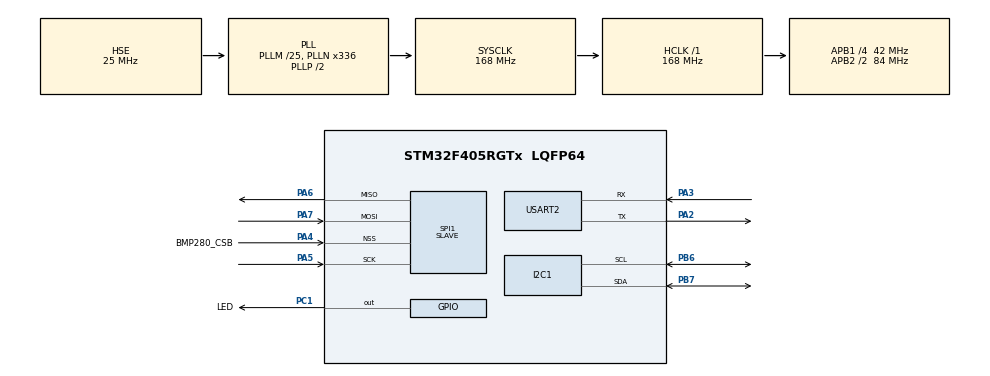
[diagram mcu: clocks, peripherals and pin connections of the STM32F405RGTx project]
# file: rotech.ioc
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Mcu.Family=STM32F4
Mcu.Name=STM32F405RGTx
Mcu.Package=LQFP64
NVIC.PriorityGroup=NVIC_PRIORITYGROUP_4
PA13.Mode=Serial_Wire
PA13.Signal=SYS_JTMS-SWDIO
PA14.Mode=Serial_Wire
PA14.Signal=SYS_JTCK-SWCLK
PA2.Mode=Asynchronous
PA2.Signal=USART2_TX
PA3.Mode=Asynchronous
PA3.Signal=USART2_RX
PA4.GPIO_Label=BMP280_CSB
PA4.Mode=NSS_Signal_Hard_Input
PA4.Signal=SPI1_NSS
PA5.Mode=Full_Duplex_Slave
PA5.Signal=SPI1_SCK
PA6.Mode=Full_Duplex_Slave
PA6.Signal=SPI1_MISO
PA7.Mode=Full_Duplex_Slave
PA7.Signal=SPI1_MOSI
PB6.Mode=I2C
PB6.Signal=I2C1_SCL
PB7.Mode=I2C
PB7.Signal=I2C1_SDA
PC1.GPIO_Label=LED
PC1.Signal=GPIO_Output
PH0-OSC_IN.Mode=HSE-External-Oscillator
PH0-OSC_IN.Signal=RCC_OSC_IN
PH1-OSC_OUT.Mode=HSE-External-Oscillator
PH1-OSC_OUT.Signal=RCC_OSC_OUT
ProjectManager.HeapSize=0x200
ProjectManager.StackSize=0x400
ProjectManager.TargetToolchain=STM32CubeIDE
RCC.48MHZClocksFreq_Value=48000000
RCC.AHBFreq_Value=168000000
RCC.APB1CLKDivider=RCC_HCLK_DIV4
RCC.APB1Freq_Value=42000000
RCC.APB1TimFreq_Value=84000000
RCC.APB2CLKDivider=RCC_HCLK_DIV2
RCC.APB2Freq_Value=84000000
RCC.APB2TimFreq_Value=168000000
RCC.CortexFreq_Value=168000000
RCC.HCLKFreq_Value=168000000
RCC.HSE_VALUE=25000000
RCC.HSI_VALUE=16000000
RCC.LSE_VALUE=32768
RCC.PLLM=25
RCC.PLLN=336
RCC.PLLQ=7
RCC.PLLSourceVirtual=RCC_PLLSOURCE_HSE
RCC.SYSCLKFreq_VALUE=168000000
RCC.SYSCLKSource=RCC_SYSCLKSOURCE_PLLCLK
RCC.VCOOutputFreq_Value=336000000
SPI1.Direction=SPI_DIRECTION_2LINES
SPI1.Mode=SPI_MODE_SLAVE
SPI1.VirtualNSS=VM_NSSHARD
SPI1.VirtualType=VM_SLAVE
USART2.VirtualMode=VM_ASYNC
board=custom

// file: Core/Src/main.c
/* USER CODE BEGIN Header */
/**
  ******************************************************************************
  * @file           : main.c
  * @brief          : Main program body
  ******************************************************************************
  * @attention
  *
  * Copyright (c) 2024 STMicroelectronics.
  * All rights reserved.
  *
  * This software is licensed under terms that can be found in the LICENSE file
  * in the root directory of this software component.
  * If no LICENSE file comes with this software, it is provided AS-IS.
  *
  ******************************************************************************
  */
/* USER CODE END Header */
#include "main.h"

/* USER CODE BEGIN Includes */
#include "../../Drivers/BMP280/bmp280.h"

/* USER CODE END Includes */

I2C_HandleTypeDef hi2c1;

SPI_HandleTypeDef hspi1;

UART_HandleTypeDef huart2;

void SystemClock_Config(void);
static void MX_GPIO_Init(void);
static void MX_USART2_UART_Init(void);
static void MX_SPI1_Init(void);
static void MX_I2C1_Init(void);
/* USER CODE BEGIN PFP */
static void blink(void);
#define PUTCHAR_PROTOTYPE int __io_putchar(int ch)
/* USER CODE END PFP */

int main(void)
{

  /* USER CODE BEGIN 1 */
//	float temp, press, hum;

//	const uint8_t message[] = "hello, world!\n";

  /* USER CODE END 1 */

  /* MCU Configuration--------------------------------------------------------*/

  /* Reset of all peripherals, Initializes the Flash interface and the Systick. */
  HAL_Init();

  /* Configure the system clock */
  SystemClock_Config();

  /* Initialize all configured peripherals */
  MX_GPIO_Init();
  MX_USART2_UART_Init();
  MX_SPI1_Init();
  MX_I2C1_Init();
  /* USER CODE BEGIN 2 */

  HAL_Delay(300);

  BMP280_Init();

  /* USER CODE END 2 */

  /* Infinite loop */
  /* USER CODE BEGIN WHILE */
  while (1)
  {
	  blink();
	  BMP280_ReadData();
	  HAL_Delay(200);

	  printf("pressure: %f    temperature: %f \n", bmp280.comp_data.press, bmp280.comp_data.temp);
    /* USER CODE END WHILE */

  }
}

void SystemClock_Config(void)
{
  RCC_OscInitTypeDef RCC_OscInitStruct = {0};
  RCC_ClkInitTypeDef RCC_ClkInitStruct = {0};

  /** Configure the main internal regulator output voltage
  */
  __HAL_RCC_PWR_CLK_ENABLE();
  __HAL_PWR_VOLTAGESCALING_CONFIG(PWR_REGULATOR_VOLTAGE_SCALE1);

  /** Initializes the RCC Oscillators according to the specified parameters
  * in the RCC_OscInitTypeDef structure.
  */
  RCC_OscInitStruct.OscillatorType = RCC_OSCILLATORTYPE_HSE;
  RCC_OscInitStruct.HSEState = RCC_HSE_ON;
  RCC_OscInitStruct.PLL.PLLState = RCC_PLL_ON;
  RCC_OscInitStruct.PLL.PLLSource = RCC_PLLSOURCE_HSE;
  RCC_OscInitStruct.PLL.PLLM = 25;
  RCC_OscInitStruct.PLL.PLLN = 336;
  RCC_OscInitStruct.PLL.PLLP = RCC_PLLP_DIV2;
  RCC_OscInitStruct.PLL.PLLQ = 7;
  if (HAL_RCC_OscConfig(&RCC_OscInitStruct) != HAL_OK)
  {
    Error_Handler();
  }

  /** Initializes the CPU, AHB and APB buses clocks
  */
  RCC_ClkInitStruct.ClockType = RCC_CLOCKTYPE_HCLK|RCC_CLOCKTYPE_SYSCLK
                              |RCC_CLOCKTYPE_PCLK1|RCC_CLOCKTYPE_PCLK2;
  RCC_ClkInitStruct.SYSCLKSource = RCC_SYSCLKSOURCE_PLLCLK;
  RCC_ClkInitStruct.AHBCLKDivider = RCC_SYSCLK_DIV1;
  RCC_ClkInitStruct.APB1CLKDivider = RCC_HCLK_DIV4;
  RCC_ClkInitStruct.APB2CLKDivider = RCC_HCLK_DIV2;

  if (HAL_RCC_ClockConfig(&RCC_ClkInitStruct, FLASH_LATENCY_5) != HAL_OK)
  {
    Error_Handler();
  }
}

static void MX_I2C1_Init(void)
{

  hi2c1.Instance = I2C1;
  hi2c1.Init.ClockSpeed = 100000;
  hi2c1.Init.DutyCycle = I2C_DUTYCYCLE_2;
  hi2c1.Init.OwnAddress1 = 0;
  hi2c1.Init.AddressingMode = I2C_ADDRESSINGMODE_7BIT;
  hi2c1.Init.DualAddressMode = I2C_DUALADDRESS_DISABLE;
  hi2c1.Init.OwnAddress2 = 0;
  hi2c1.Init.GeneralCallMode = I2C_GENERALCALL_DISABLE;
  hi2c1.Init.NoStretchMode = I2C_NOSTRETCH_DISABLE;
  if (HAL_I2C_Init(&hi2c1) != HAL_OK)
  {
    Error_Handler();
  }

}

static void MX_SPI1_Init(void)
{

  /* SPI1 parameter configuration*/
  hspi1.Instance = SPI1;
  hspi1.Init.Mode = SPI_MODE_SLAVE;
  hspi1.Init.Direction = SPI_DIRECTION_2LINES;
  hspi1.Init.DataSize = SPI_DATASIZE_8BIT;
  hspi1.Init.CLKPolarity = SPI_POLARITY_LOW;
  hspi1.Init.CLKPhase = SPI_PHASE_1EDGE;
  hspi1.Init.NSS = SPI_NSS_HARD_INPUT;
  hspi1.Init.FirstBit = SPI_FIRSTBIT_MSB;
  hspi1.Init.TIMode = SPI_TIMODE_DISABLE;
  hspi1.Init.CRCCalculation = SPI_CRCCALCULATION_DISABLE;
  hspi1.Init.CRCPolynomial = 10;
  if (HAL_SPI_Init(&hspi1) != HAL_OK)
  {
    Error_Handler();
  }

}

static void MX_USART2_UART_Init(void)
{

  huart2.Instance = USART2;
  huart2.Init.BaudRate = 115200;
  huart2.Init.WordLength = UART_WORDLENGTH_8B;
  huart2.Init.StopBits = UART_STOPBITS_1;
  huart2.Init.Parity = UART_PARITY_NONE;
  huart2.Init.Mode = UART_MODE_TX_RX;
  huart2.Init.HwFlowCtl = UART_HWCONTROL_NONE;
  huart2.Init.OverSampling = UART_OVERSAMPLING_16;
  if (HAL_UART_Init(&huart2) != HAL_OK)
  {
    Error_Handler();
  }

}

static void MX_GPIO_Init(void)
{
  GPIO_InitTypeDef GPIO_InitStruct = {0};

  /* GPIO Ports Clock Enable */
  __HAL_RCC_GPIOH_CLK_ENABLE();
  __HAL_RCC_GPIOC_CLK_ENABLE();
  __HAL_RCC_GPIOA_CLK_ENABLE();
  __HAL_RCC_GPIOB_CLK_ENABLE();

  /*Configure GPIO pin Output Level */
  HAL_GPIO_WritePin(LED_GPIO_Port, LED_Pin, GPIO_PIN_RESET);

  /*Configure GPIO pin : LED_Pin */
  GPIO_InitStruct.Pin = LED_Pin;
  GPIO_InitStruct.Mode = GPIO_MODE_OUTPUT_PP;
  GPIO_InitStruct.Pull = GPIO_NOPULL;
  GPIO_InitStruct.Speed = GPIO_SPEED_FREQ_LOW;
  HAL_GPIO_Init(LED_GPIO_Port, &GPIO_InitStruct);

}

/* USER CODE BEGIN 4 */
static void blink(void) {
	  HAL_GPIO_WritePin(LED_GPIO_Port, LED_Pin, GPIO_PIN_SET);
	  HAL_Delay(1000);
	  HAL_GPIO_WritePin(LED_GPIO_Port, LED_Pin, GPIO_PIN_RESET);
	  HAL_Delay(1000);
}

PUTCHAR_PROTOTYPE
{
  /* Place your implementation of fputc here */
  /* e.g. write a character to the USART1 and Loop until the end of transmission */
  HAL_UART_Transmit(&huart2, (uint8_t *)&ch, 1, 0xFFFF);

  return ch;
}

/* USER CODE END 4 */

void Error_Handler(void)
{
  __disable_irq();
  while (1)
  {
  }
}
